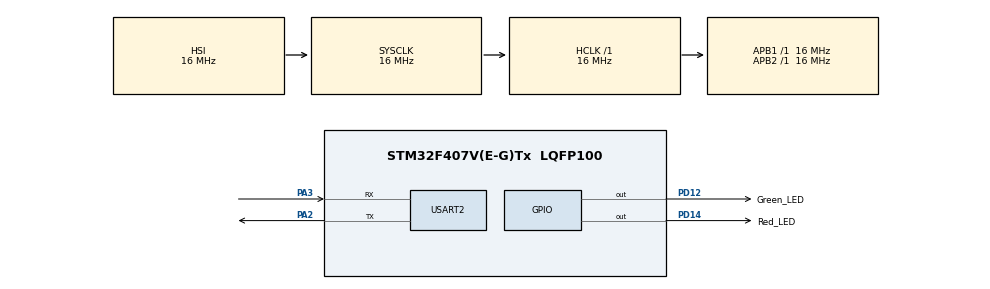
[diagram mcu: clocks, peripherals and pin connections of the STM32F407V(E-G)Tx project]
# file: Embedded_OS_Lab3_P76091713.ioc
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Mcu.Family=STM32F4
Mcu.Name=STM32F407V(E-G)Tx
Mcu.Package=LQFP100
NVIC.PriorityGroup=NVIC_PRIORITYGROUP_4
NVIC.TIM7_IRQn=true\:0\:0\:false\:false\:true\:false\:true\:true
NVIC.TimeBase=TIM7_IRQn
NVIC.TimeBaseIP=TIM7
PA13.Mode=Serial_Wire
PA13.Signal=SYS_JTMS-SWDIO
PA14.Mode=Serial_Wire
PA14.Signal=SYS_JTCK-SWCLK
PA2.Mode=Asynchronous
PA2.Signal=USART2_TX
PA3.Mode=Asynchronous
PA3.Signal=USART2_RX
PD12.GPIO_Label=Green_LED
PD12.Signal=GPIO_Output
PD14.GPIO_Label=Red_LED
PD14.Signal=GPIO_Output
ProjectManager.HeapSize=0x200
ProjectManager.StackSize=0x400
ProjectManager.TargetToolchain=STM32CubeIDE
RCC.AHBFreq_Value=16000000
RCC.APB1Freq_Value=16000000
RCC.APB2Freq_Value=16000000
RCC.CortexFreq_Value=16000000
RCC.HSE_VALUE=25000000
RCC.HSI_VALUE=16000000
RCC.LSE_VALUE=32768
RCC.SYSCLKFreq_VALUE=16000000
RCC.VCOOutputFreq_Value=192000000
USART2.VirtualMode=VM_ASYNC
VP_SYS_VS_tim7.Mode=TIM7
board=custom

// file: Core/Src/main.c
/* USER CODE BEGIN Header */
/**
  ******************************************************************************
  * @file           : main.c
  * @brief          : Main program body
  ******************************************************************************
  * @attention
  *
  * Copyright (c) 2022 STMicroelectronics.
  * All rights reserved.
  *
  * This software is licensed under terms that can be found in the LICENSE file
  * in the root directory of this software component.
  * If no LICENSE file comes with this software, it is provided AS-IS.
  *
  ******************************************************************************
  */
/* USER CODE END Header */
#include "main.h"

/* USER CODE BEGIN Includes */
#include "FreeRTOS.h"
#include "task.h"
/* USER CODE END Includes */

 UART_HandleTypeDef huart2;

void SystemClock_Config(void);
static void MX_GPIO_Init(void);
static void MX_USART2_UART_Init(void);
/* USER CODE BEGIN PFP */
void Red_LED_App(void *);
void Green_LED_App(void *);
void TaskMonitor_App(void *);
void Delay_App(void *);
/* USER CODE END PFP */

int main(void)
{

  /* MCU Configuration--------------------------------------------------------*/

  /* Reset of all peripherals, Initializes the Flash interface and the Systick. */
  HAL_Init();

  /* Configure the system clock */
  SystemClock_Config();

  /* Initialize all configured peripherals */
  MX_GPIO_Init();
  MX_USART2_UART_Init();
  /* USER CODE BEGIN 2 */
  xTaskCreate(TaskMonitor_App, "TaskMonitor", 1024, NULL, 2, NULL);
  xTaskCreate(Green_LED_App, "Green_LED", 1024, NULL, 1, NULL);
  xTaskCreate(Red_LED_App, "Red_LED", 1024, NULL, 1, NULL);
  xTaskCreate(Delay_App,"DelayTask", 1024, NULL, 14, NULL);
  vTaskStartScheduler();
  /* USER CODE END 2 */

  /* Infinite loop */
  while (1)
  {

  }
}

void SystemClock_Config(void)
{
  RCC_OscInitTypeDef RCC_OscInitStruct = {0};
  RCC_ClkInitTypeDef RCC_ClkInitStruct = {0};

  /** Configure the main internal regulator output voltage
  */
  __HAL_RCC_PWR_CLK_ENABLE();
  __HAL_PWR_VOLTAGESCALING_CONFIG(PWR_REGULATOR_VOLTAGE_SCALE1);

  /** Initializes the RCC Oscillators according to the specified parameters
  * in the RCC_OscInitTypeDef structure.
  */
  RCC_OscInitStruct.OscillatorType = RCC_OSCILLATORTYPE_HSI;
  RCC_OscInitStruct.HSIState = RCC_HSI_ON;
  RCC_OscInitStruct.HSICalibrationValue = RCC_HSICALIBRATION_DEFAULT;
  RCC_OscInitStruct.PLL.PLLState = RCC_PLL_NONE;
  if (HAL_RCC_OscConfig(&RCC_OscInitStruct) != HAL_OK)
  {
    Error_Handler();
  }

  /** Initializes the CPU, AHB and APB buses clocks
  */
  RCC_ClkInitStruct.ClockType = RCC_CLOCKTYPE_HCLK|RCC_CLOCKTYPE_SYSCLK
                              |RCC_CLOCKTYPE_PCLK1|RCC_CLOCKTYPE_PCLK2;
  RCC_ClkInitStruct.SYSCLKSource = RCC_SYSCLKSOURCE_HSI;
  RCC_ClkInitStruct.AHBCLKDivider = RCC_SYSCLK_DIV1;
  RCC_ClkInitStruct.APB1CLKDivider = RCC_HCLK_DIV1;
  RCC_ClkInitStruct.APB2CLKDivider = RCC_HCLK_DIV1;

  if (HAL_RCC_ClockConfig(&RCC_ClkInitStruct, FLASH_LATENCY_0) != HAL_OK)
  {
    Error_Handler();
  }
}

static void MX_USART2_UART_Init(void)
{

  huart2.Instance = USART2;
  huart2.Init.BaudRate = 115200;
  huart2.Init.WordLength = UART_WORDLENGTH_8B;
  huart2.Init.StopBits = UART_STOPBITS_1;
  huart2.Init.Parity = UART_PARITY_NONE;
  huart2.Init.Mode = UART_MODE_TX_RX;
  huart2.Init.HwFlowCtl = UART_HWCONTROL_NONE;
  huart2.Init.OverSampling = UART_OVERSAMPLING_16;
  if (HAL_UART_Init(&huart2) != HAL_OK)
  {
    Error_Handler();
  }

}

static void MX_GPIO_Init(void)
{
  GPIO_InitTypeDef GPIO_InitStruct = {0};

  /* GPIO Ports Clock Enable */
  __HAL_RCC_GPIOA_CLK_ENABLE();
  __HAL_RCC_GPIOD_CLK_ENABLE();

  /*Configure GPIO pin Output Level */
  HAL_GPIO_WritePin(GPIOD, Green_LED_Pin|Red_LED_Pin, GPIO_PIN_RESET);

  /*Configure GPIO pins : Green_LED_Pin Red_LED_Pin */
  GPIO_InitStruct.Pin = Green_LED_Pin|Red_LED_Pin;
  GPIO_InitStruct.Mode = GPIO_MODE_OUTPUT_PP;
  GPIO_InitStruct.Pull = GPIO_NOPULL;
  GPIO_InitStruct.Speed = GPIO_SPEED_FREQ_LOW;
  HAL_GPIO_Init(GPIOD, &GPIO_InitStruct);

}

/* USER CODE BEGIN 4 */
void TaskMonitor_App(void *pvParameters) {
	uint32_t timer = 100;
	while (1) {
		Taskmonitor();
		++timer;
		vTaskDelay(timer);
		if (timer == 500)
			timer = 0;
	}
}

void Red_LED_App(void *pvParameters) {
	uint32_t red_timer = 500;
	while (1) {
		HAL_GPIO_TogglePin(GPIOD, Red_LED_Pin);
		vTaskDelay(red_timer);
		red_timer++;
	}
}

void Green_LED_App(void *pvParameters) {
	uint32_t green_timer = 500;
	while (1) {
		HAL_GPIO_TogglePin(GPIOD, Green_LED_Pin);
		vTaskDelay(green_timer);
		green_timer += 2;
	}
}

void Delay_App(void *pvParameters) {
	while (1)
		vTaskDelay(15000);
}
/* USER CODE END 4 */

void HAL_TIM_PeriodElapsedCallback(TIM_HandleTypeDef *htim)
{
  if (htim->Instance == TIM7) {
    HAL_IncTick();
  }
}

void Error_Handler(void)
{
  __disable_irq();
  while (1)
  {
  }
}
